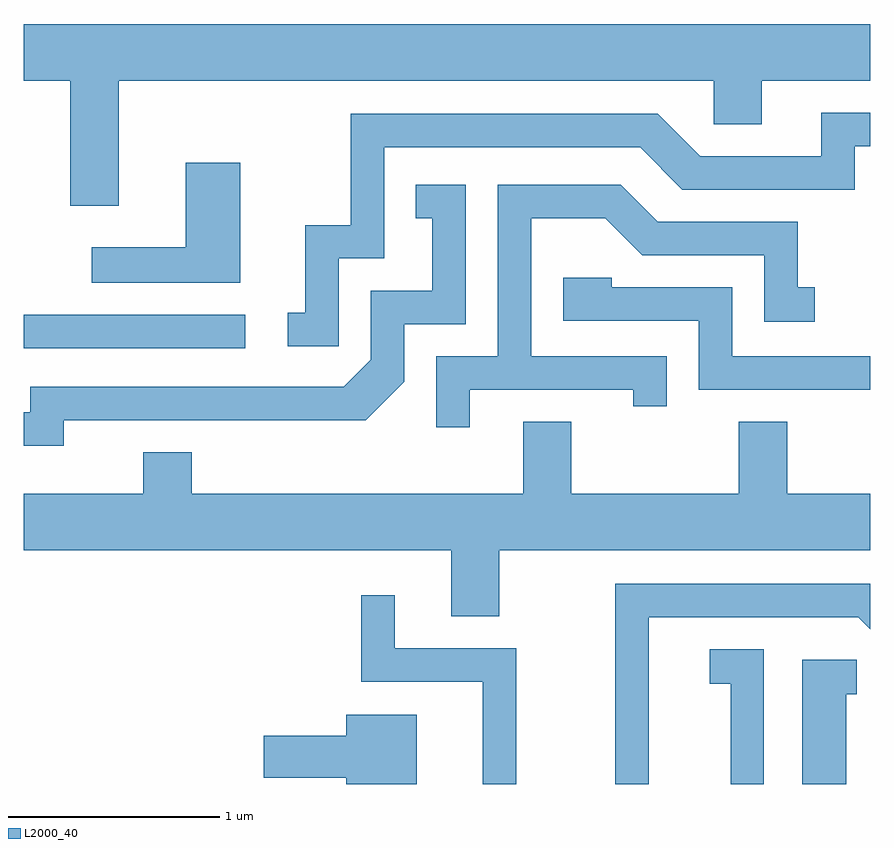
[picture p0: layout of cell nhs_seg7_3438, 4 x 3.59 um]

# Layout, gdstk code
import gdstk
lib = gdstk.Library(unit=1e-6, precision=1e-09)
def R(c, l, rs):  # rectangles x0, y0, x1, y1
    for r in rs: c.add(gdstk.rectangle(r[:2], r[2:], *l))
def P(c, l, *ps):  # polygons
    for p in ps: c.add(gdstk.Polygon(p, *l))
L2000_40 = (2000, 40)

nhs_seg7_3438 = lib.new_cell('nhs_seg7_3438')
R(nhs_seg7_3438, L2000_40, [(289.611,1786.311,290.658,1786.469)])
P(nhs_seg7_3438, L2000_40, [(290.059,1787.576),(292.871,1787.576),(292.871,1787.371),(293.099,1787.371),(293.099,1787.576),(293.611,1787.576),(293.611,1787.844),(289.611,1787.844),(289.611,1787.576),(289.831,1787.576),(289.831,1786.986),(290.059,1786.986)],
  [(291.099,1786.736),(291.314,1786.736),(291.314,1787.261),(292.524,1787.261),(292.724,1787.061),(293.539,1787.061),(293.539,1787.266),(293.611,1787.266),(293.611,1787.424),(293.381,1787.424),(293.381,1787.219),(292.807,1787.219),(292.607,1787.419),(291.156,1787.419),(291.156,1786.894),(290.941,1786.894),(290.941,1786.479),(290.858,1786.479),(290.858,1786.321),(291.099,1786.321)],
  [(290.634,1787.189),(290.376,1787.189),(290.376,1786.789),(289.933,1786.789),(289.933,1786.621),(290.634,1786.621)],
  [(291.719,1786.116),(292.491,1786.116),(292.491,1786.038),(292.649,1786.038),(292.649,1786.274),(292.009,1786.274),(292.009,1786.926),(292.359,1786.926),(292.534,1786.751),(293.111,1786.751),(293.111,1786.436),(293.348,1786.436),(293.348,1786.599),(293.269,1786.599),(293.269,1786.909),(292.607,1786.909),(292.432,1787.084),(291.851,1787.084),(291.851,1786.274),(291.561,1786.274),(291.561,1785.938),(291.719,1785.938)],
  [(289.799,1785.971),(291.227,1785.971),(291.409,1786.154),(291.409,1786.426),(291.699,1786.426),(291.699,1787.084),(291.463,1787.084),(291.463,1786.926),(291.541,1786.926),(291.541,1786.584),(291.251,1786.584),(291.251,1786.257),(291.124,1786.129),(289.641,1786.129),(289.641,1786.009),(289.611,1786.009),(289.611,1785.851),(289.799,1785.851)],
  [(293.611,1786.274),(292.959,1786.274),(292.959,1786.599),(292.389,1786.599),(292.389,1786.644),(292.161,1786.644),(292.161,1786.441),(292.801,1786.441),(292.801,1786.116),(293.611,1786.116)],
  [(291.859,1785.356),(293.611,1785.356),(293.611,1785.624),(293.219,1785.624),(293.219,1785.964),(292.991,1785.964),(292.991,1785.624),(292.199,1785.624),(292.199,1785.964),(291.971,1785.964),(291.971,1785.624),(290.404,1785.624),(290.404,1785.819),(290.176,1785.819),(290.176,1785.624),(289.611,1785.624),(289.611,1785.356),(291.631,1785.356),(291.631,1785.046),(291.859,1785.046)],
  [(292.564,1785.041),(293.554,1785.041),(293.611,1784.984),(293.611,1785.199),(292.406,1785.199),(292.406,1784.252),(292.564,1784.252)],
  [(291.939,1784.894),(291.364,1784.894),(291.364,1785.143),(291.206,1785.143),(291.206,1784.736),(291.781,1784.736),(291.781,1784.252),(291.939,1784.252)],
  [(293.109,1784.889),(292.853,1784.889),(292.853,1784.726),(292.951,1784.726),(292.951,1784.252),(293.109,1784.252)],
  [(293.499,1784.676),(293.548,1784.676),(293.548,1784.839),(293.291,1784.839),(293.291,1784.252),(293.499,1784.252)],
  [(291.469,1784.579),(291.136,1784.579),(291.136,1784.479),(290.746,1784.479),(290.746,1784.281),(291.136,1784.281),(291.136,1784.252),(291.469,1784.252)])

lib.write_gds('nhs_seg7_3438.gds')
